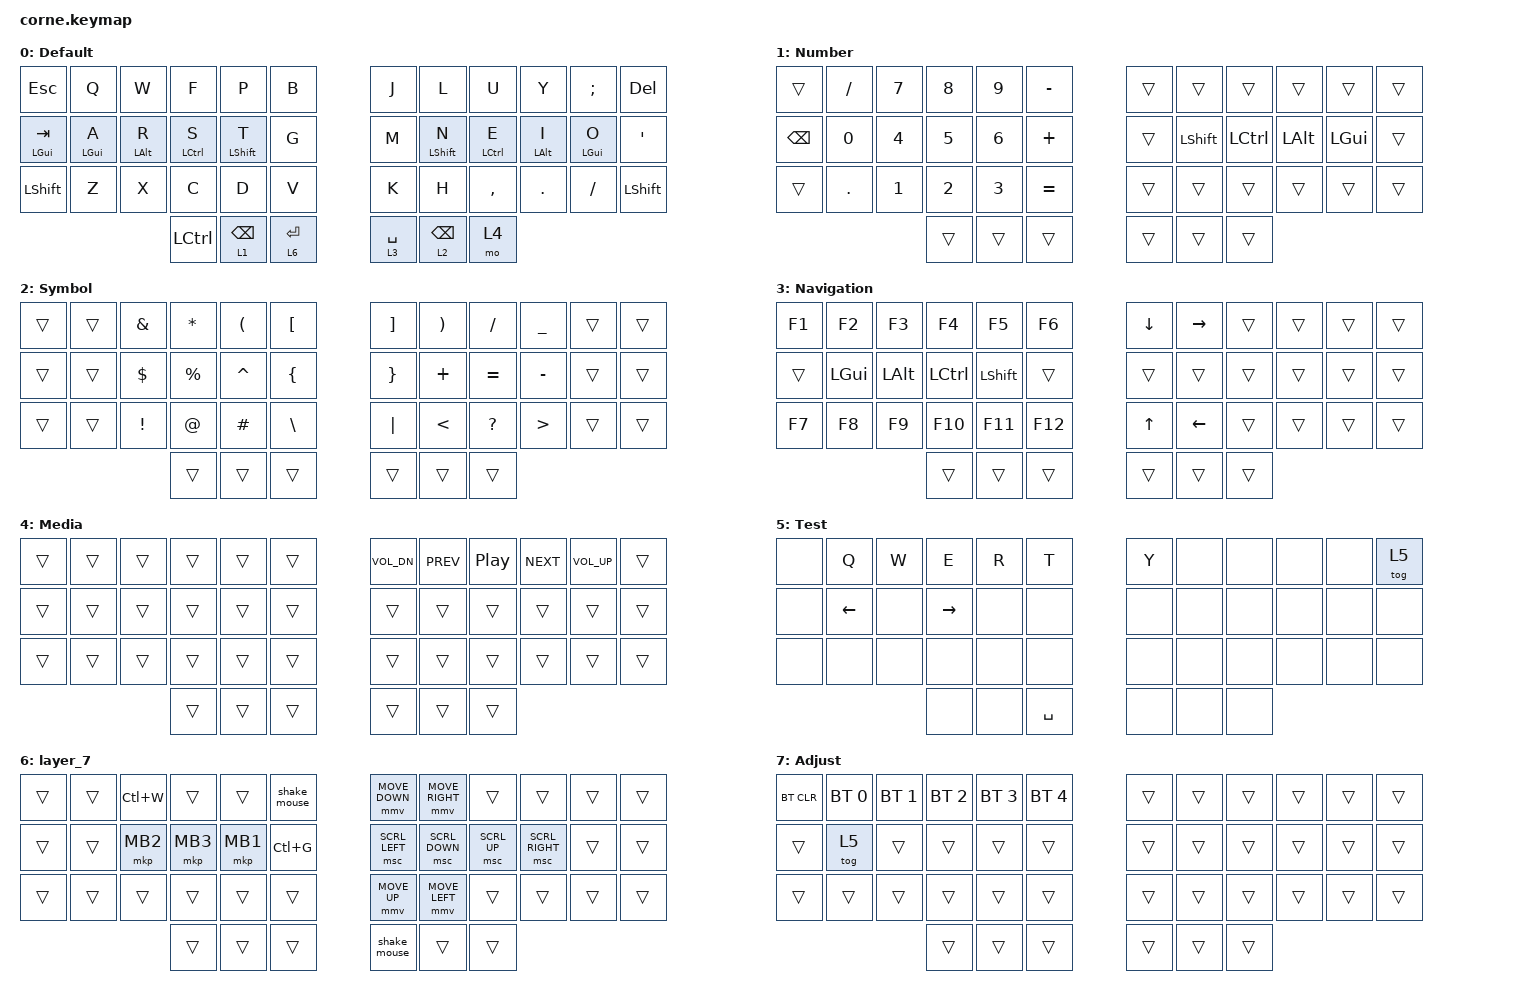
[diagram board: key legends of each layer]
/*
 * Copyright (c) 2020 The ZMK Contributors
 *
 * SPDX-License-Identifier: MIT
 */

#include <behaviors.dtsi>
#include <dt-bindings/zmk/bt.h>
#include <dt-bindings/zmk/keys.h>
#include <dt-bindings/zmk/pointing.h>

&lt { quick-tap-ms = <180>; };

/ {
    behaviors {
        hrl: hrl {
            compatible = "zmk,behavior-hold-tap";
            label = "HRL";
            bindings = <&kp>, <&kp>;

            #binding-cells = <2>;
            tapping-term-ms = <250>;
            quick-tap-ms = <175>;
            require-prior-idle-ms = <150>;
            flavor = "balanced";
            hold-trigger-key-positions = <6 7 8 9 10 11 18 19 20 21 22 23 30 31 32 33 34 35 39 40 41>;
        };

        hrr: hrr {
            compatible = "zmk,behavior-hold-tap";
            label = "HRR";
            bindings = <&kp>, <&kp>;

            #binding-cells = <2>;
            tapping-term-ms = <250>;
            quick-tap-ms = <175>;
            require-prior-idle-ms = <150>;
            flavor = "balanced";
            hold-trigger-key-positions = <0 1 2 3 4 5 12 13 14 15 16 17 24 25 26 27 28 29 36 37 38>;
        };

        lt_alt: lt_alt {
            compatible = "zmk,behavior-hold-tap";
            label = "LT_ALT";
            bindings = <&mo>, <&kp>;

            #binding-cells = <2>;
            tapping-term-ms = <200>;
            quick-tap-ms = <180>;
            flavor = "tap-preferred";
        };
    };

    macros {
        shake_mouse: shake_mouse {
            compatible = "zmk,behavior-macro";
            #binding-cells = <0>;
            bindings =
                <&macro_press>,
                <&mmv MOVE_LEFT>,
                <&macro_release>,
                <&mmv MOVE_LEFT>,
                <&macro_press>,
                <&mmv MOVE_RIGHT>,
                <&macro_release>,
                <&mmv MOVE_RIGHT>;

            label = "SHAKE_MOUSE";
            wait-ms = <40>;
            tap-ms = <60>;
        };
    };

    keymap {
        compatible = "zmk,keymap";

        default_layer {
            display-name = "Default";

            // -----------------------------------------------------------------------------------------
            // |  TAB |  Q  |  W  |  E  |  R  |  T  |   |  Y  |  U   |  I  |  O  |  P  | BSPC |
            // | CTRL |  A  |  S  |  D  |  F  |  G  |   |  H  |  J   |  K  |  L  |  ;  |  '   |
            // | SHFT |  Z  |  X  |  C  |  V  |  B  |   |  N  |  M   |  ,  |  .  |  /  | ESC  |
            //                    | GUI | LWR | SPC |   | ENT | RSE  | ALT |

            bindings = <
&kp ESC           &kp Q            &kp W            &kp F         &kp P                &kp B          &kp J        &kp L                &kp U         &kp Y            &kp SEMI         &kp DELETE
&mt LEFT_GUI TAB  &hrl LEFT_GUI A  &hrl LEFT_ALT R  &hrl LCTRL S  &hrl LEFT_SHIFT T    &kp G          &kp M        &hrr LEFT_SHIFT N    &hrr LCTRL E  &hrr LEFT_ALT I  &hrr LEFT_GUI O  &kp APOS
&kp LSHFT         &kp Z            &kp X            &kp C         &kp D                &kp V          &kp K        &kp H                &kp COMMA     &kp DOT          &kp FSLH         &kp LEFT_SHIFT
                                                    &kp LCTRL     &lt_alt 1 BACKSPACE  &lt 6 ENTER    &lt 3 SPACE  &lt_alt 2 BACKSPACE  &mo 4
            >;
        };

        num_layer {
            display-name = "Number";

            // -----------------------------------------------------------------------------------------
            // |  TAB |  1  |  2  |  3  |  4  |  5  |   |  6  |  7  |  8  |  9  |  0  | BSPC |
            // | BTCLR| BT1 | BT2 | BT3 | BT4 | BT5 |   | LFT | DWN |  UP | RGT |     |      |
            // | SHFT |     |     |     |     |     |   |     |     |     |     |     |      |
            //                    | GUI |     | SPC |   | ENT |     | ALT |

            bindings = <
&trans    &kp FSLH  &kp N7  &kp N8  &kp N9  &kp MINUS    &trans  &trans     &trans     &trans    &trans    &trans
&kp BSPC  &kp N0    &kp N4  &kp N5  &kp N6  &kp PLUS     &trans  &kp LSHFT  &kp LCTRL  &kp LALT  &kp LGUI  &trans
&trans    &kp DOT   &kp N1  &kp N2  &kp N3  &kp EQUAL    &trans  &trans     &trans     &trans    &trans    &trans
                            &trans  &trans  &trans       &trans  &trans     &trans
            >;
        };

        sym_layer {
            bindings = <
&trans  &trans  &kp AMPS    &kp STAR     &kp LEFT_PARENTHESIS  &kp LEFT_BRACKET    &kp RBKT         &kp RIGHT_PARENTHESIS  &kp SLASH     &kp UNDERSCORE    &trans  &trans
&trans  &trans  &kp DOLLAR  &kp PERCENT  &kp CARET             &kp LEFT_BRACE      &kp RIGHT_BRACE  &kp PLUS               &kp EQUAL     &kp MINUS         &trans  &trans
&trans  &trans  &kp EXCL    &kp AT       &kp HASH              &kp BSLH            &kp PIPE         &kp LESS_THAN          &kp QUESTION  &kp GREATER_THAN  &trans  &trans
                            &trans       &trans                &trans              &trans           &trans                 &trans
            >;

            label = "Symbol";
        };

        nav_layer {
            bindings = <
&kp F1  &kp F2    &kp F3    &kp F4     &kp F5     &kp F6     &kp DOWN_ARROW  &kp RIGHT_ARROW  &trans  &trans  &trans  &trans
&trans  &kp LGUI  &kp LALT  &kp LCTRL  &kp LSHFT  &trans     &trans          &trans           &trans  &trans  &trans  &trans
&kp F7  &kp F8    &kp F9    &kp F10    &kp F11    &kp F12    &kp UP_ARROW    &kp LEFT_ARROW   &trans  &trans  &trans  &trans
                            &trans     &trans     &trans     &trans          &trans           &trans
            >;

            label = "Navigation";
        };

        media_layer {
            bindings = <
&trans  &trans  &trans  &trans  &trans  &trans    &kp C_VOL_DN  &kp C_PREV  &kp C_PLAY_PAUSE  &kp C_NEXT  &kp C_VOL_UP  &trans
&trans  &trans  &trans  &trans  &trans  &trans    &trans        &trans      &trans            &trans      &trans        &trans
&trans  &trans  &trans  &trans  &trans  &trans    &trans        &trans      &trans            &trans      &trans        &trans
                        &trans  &trans  &trans    &trans        &trans      &trans
            >;

            label = "Media";
        };

        test {
            bindings = <
&none  &kp Q           &kp W  &kp E            &kp R  &kp T        &kp Y  &none  &none  &none  &none  &tog 5
&none  &kp LEFT_ARROW  &none  &kp RIGHT_ARROW  &none  &none        &none  &none  &none  &none  &none  &none
&none  &none           &none  &none            &none  &none        &none  &none  &none  &none  &none  &none
                              &none            &none  &kp SPACE    &none  &none  &none
            >;

            label = "Test";
        };

        layer_7 {
            bindings = <
&trans  &trans  &kp LC(W)  &trans    &trans    &shake_mouse    &mmv MOVE_DOWN  &mmv MOVE_RIGHT  &trans        &trans           &trans  &trans
&trans  &trans  &mkp MB2   &mkp MB3  &mkp MB1  &kp LC(G)       &msc SCRL_LEFT  &msc SCRL_DOWN   &msc SCRL_UP  &msc SCRL_RIGHT  &trans  &trans
&trans  &trans  &trans     &trans    &trans    &trans          &mmv MOVE_UP    &mmv MOVE_LEFT   &trans        &trans           &trans  &trans
                           &trans    &trans    &trans          &shake_mouse    &trans           &trans
            >;
        };

        adjust_layer {
            bindings = <
&bt BT_CLR  &bt BT_SEL 0  &bt BT_SEL 1  &bt BT_SEL 2  &bt BT_SEL 3  &bt BT_SEL 4    &trans  &trans  &trans  &trans  &trans  &trans
&trans      &tog 5        &trans        &trans        &trans        &trans          &trans  &trans  &trans  &trans  &trans  &trans
&trans      &trans        &trans        &trans        &trans        &trans          &trans  &trans  &trans  &trans  &trans  &trans
                                        &trans        &trans        &trans          &trans  &trans  &trans
            >;

            label = "Adjust";
        };
    };

    conditional_layers {
        compatible = "zmk,conditional-layers";

        adj {
            if-layers = <1 2>;
            then-layer = <7>;
        };
    };
};
